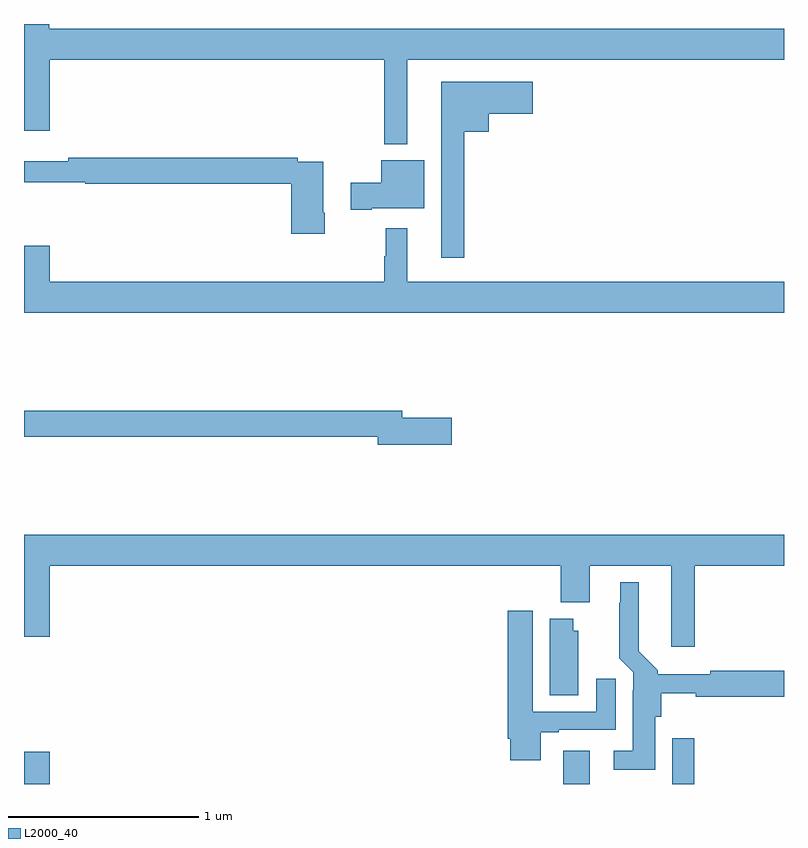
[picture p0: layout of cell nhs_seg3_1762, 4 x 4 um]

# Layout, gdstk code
import gdstk
lib = gdstk.Library(unit=1e-6, precision=1e-09)
def R(c, l, rs):  # rectangles x0, y0, x1, y1
    for r in rs: c.add(gdstk.rectangle(r[:2], r[2:], *l))
def P(c, l, *ps):  # polygons
    for p in ps: c.add(gdstk.Polygon(p, *l))
L2000_40 = (2000, 40)

nhs_seg3_1762 = lib.new_cell('nhs_seg3_1762')
R(nhs_seg3_1762, L2000_40, [(201,734.4,201.136,734.569), (203.837,734.4,203.977,734.575), (204.411,734.4,204.527,734.641)])
P(nhs_seg3_1762, L2000_40, [(203.017,738.212),(205,738.212),(205,738.376),(201.134,738.376),(201.134,738.4),(201,738.4),(201,737.838),(201.136,737.838),(201.136,738.212),(202.896,738.212),(202.896,737.768),(203.017,737.768)],
  [(203.317,737.834),(203.446,737.834),(203.446,737.927),(203.677,737.927),(203.677,738.097),(203.195,738.097),(203.195,737.169),(203.317,737.169)],
  [(202.584,737.407),(202.576,737.407),(202.576,737.676),(202.442,737.676),(202.442,737.696),(201.232,737.696),(201.232,737.677),(201,737.677),(201,737.568),(201.322,737.568),(201.322,737.56),(202.406,737.56),(202.406,737.295),(202.584,737.295)],
  [(202.831,737.429),(203.107,737.429),(203.107,737.683),(202.88,737.683),(202.88,737.564),(202.719,737.564),(202.719,737.422),(202.831,737.422)],
  [(205,737.044),(203.017,737.044),(203.017,737.326),(202.903,737.326),(202.903,737.177),(202.896,737.177),(202.896,737.044),(201.136,737.044),(201.136,737.233),(201,737.233),(201,736.88),(205,736.88)],
  [(203.251,736.328),(202.99,736.328),(202.99,736.364),(201,736.364),(201,736.228),(202.862,736.228),(202.862,736.186),(203.251,736.186)],
  [(204.53,735.548),(205,735.548),(205,735.712),(201,735.712),(201,735.174),(201.136,735.174),(201.136,735.548),(203.825,735.548),(203.825,735.356),(203.977,735.356),(203.977,735.548),(204.407,735.548),(204.407,735.123),(204.53,735.123)],
  [(204.322,734.754),(204.353,734.754),(204.353,734.878),(204.536,734.878),(204.536,734.86),(205,734.86),(205,734.996),(204.613,734.996),(204.613,734.977),(204.336,734.977),(204.336,734.998),(204.235,735.1),(204.235,735.463),(204.137,735.463),(204.137,735.353),(204.133,735.353),(204.133,735.062),(204.207,734.988),(204.207,734.894),(204.203,734.894),(204.203,734.575),(204.105,734.575),(204.105,734.474),(204.322,734.474)],
  [(203.719,734.673),(203.815,734.673),(203.815,734.685),(204.115,734.685),(204.115,734.953),(204.011,734.953),(204.011,734.781),(203.677,734.781),(203.677,735.313),(203.546,735.313),(203.546,734.638),(203.558,734.638),(203.558,734.526),(203.719,734.526)],
  [(203.917,735.207),(203.89,735.207),(203.89,735.271),(203.768,735.271),(203.768,734.866),(203.917,734.866)])

lib.write_gds('nhs_seg3_1762.gds')
